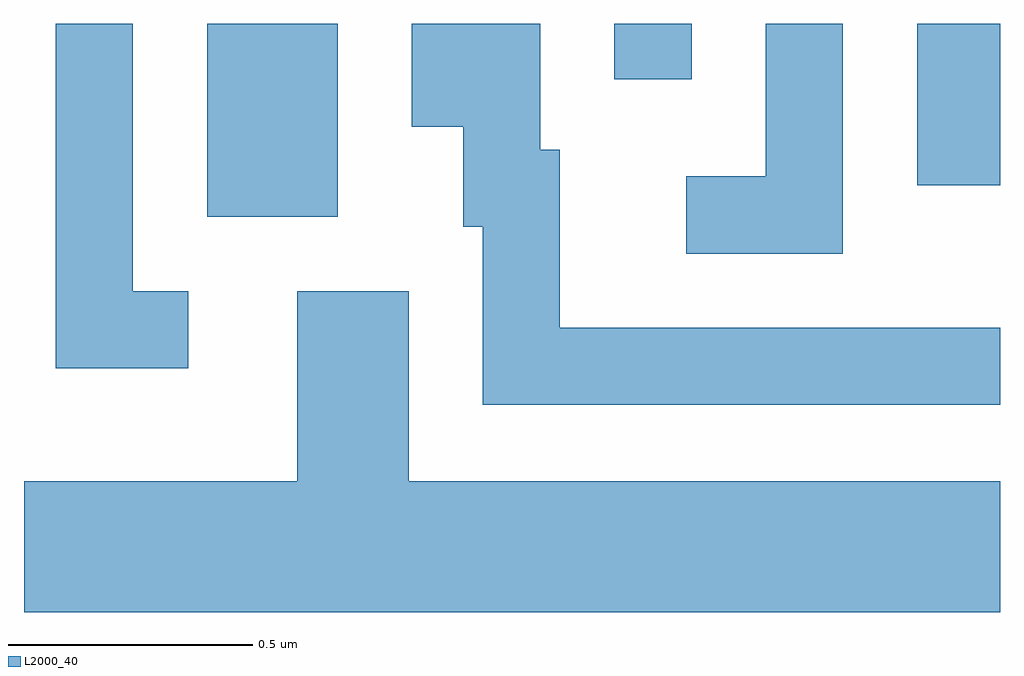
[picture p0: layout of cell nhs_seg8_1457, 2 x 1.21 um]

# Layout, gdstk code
import gdstk
lib = gdstk.Library(unit=1e-6, precision=1e-09)
def R(c, l, rs):  # rectangles x0, y0, x1, y1
    for r in rs: c.add(gdstk.rectangle(r[:2], r[2:], *l))
def P(c, l, *ps):  # polygons
    for p in ps: c.add(gdstk.Polygon(p, *l))
L2000_40 = (2000, 40)

nhs_seg8_1457 = lib.new_cell('nhs_seg8_1457')
R(nhs_seg8_1457, L2000_40, [(195.986,1894.946,196.254,1895.342), (197.441,1895.011,197.611,1895.342), (196.821,1895.228,196.979,1895.342)])
P(nhs_seg8_1457, L2000_40, [(197.289,1895.342),(197.131,1895.342),(197.131,1895.029),(196.968,1895.029),(196.968,1894.871),(197.289,1894.871)],
  [(195.948,1894.794),(195.834,1894.794),(195.834,1895.342),(195.676,1895.342),(195.676,1894.636),(195.948,1894.636)],
  [(197.611,1894.719),(196.709,1894.719),(196.709,1895.084),(196.669,1895.084),(196.669,1895.342),(196.406,1895.342),(196.406,1895.131),(196.511,1895.131),(196.511,1894.926),(196.551,1894.926),(196.551,1894.561),(197.611,1894.561)],
  [(197.611,1894.404),(196.399,1894.404),(196.399,1894.794),(196.171,1894.794),(196.171,1894.404),(195.611,1894.404),(195.611,1894.136),(197.611,1894.136)])

lib.write_gds('nhs_seg8_1457.gds')
